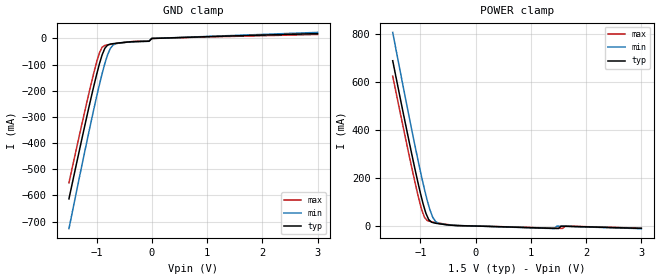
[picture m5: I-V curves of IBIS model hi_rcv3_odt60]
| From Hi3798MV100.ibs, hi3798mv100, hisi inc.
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[Model]   hi_rcv3_odt60
Model_type   Input
Vinl = 0.575
Vinh = 0.925
| variable   typ   min   max
C_comp   2.22014p   2.17375p   2.28074p
| Subparameter   typ   min   max
[Model Spec]
Vinl   0.575   0.575   0.575
Vinh   0.925   0.925   0.925
| Variable   typ   min   max
[Temperature Range] 25   125   -40
| Variable   typ   min   max
[Voltage Range]   1.5   1.425   1.575
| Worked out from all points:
|   GND clamp passes 1 mA (typ) near -0.00 V on its own axis
|   POWER clamp passes 1 mA (typ) near -0.18 V on its own axis
[Power_clamp]
| Note that the [POWER_clamp] voltage table is referenced to Vcc
| and is calculated using Vtable=Vcc - Vmeasured.
| Voltage   I(typ)   I(min)   I(max)
-1.5V     689.2mA    807.4mA    624.8mA
-1.175V   321.6mA    423.6mA    264.6mA
-1.075V   214.5mA    310.5mA    160.2mA
-975mV    115.6mA    202.9mA    68.04mA
-925mV    73.09mA    152.6mA    36.18mA
-850mV    27.42mA    86.35mA    21.04mA
-775mV    14.63mA    36.44mA    16.87mA
-725mV    11.84mA    19.22mA    14.74mA
-625mV    8.362mA    8.702mA    10.71mA
-325mV    1.849mA    2.284mA    2.023mA
1.425V    -9.795mA   -10.53mA   -8.94mA
3V        -9.835mA   -10.92mA   -8.739mA
[GND_clamp]
| Voltage   I(typ)   I(min)   I(max)
-1.5V     -612.9mA   -726.9mA   -551.5mA
-1.15V    -273.4mA   -368.1mA   -219.6mA
-1.05V    -181.9mA   -270.4mA   -131.2mA
-950mV    -98.1mA    -177.7mA   -55.97mA
-900mV    -62.84mA   -134.6mA   -33.71mA
-850mV    -37.29mA   -95.25mA   -26.53mA
-750mV    -21.52mA   -37.88mA   -22.71mA
-700mV    -19.86mA   -24.93mA   -21.16mA
-550mV    -16.17mA   -16.38mA   -16.75mA
-50mV     -10.57mA   -10.87mA   -10.11mA
0V        0A         0A         0A
3V        18.6mA     23.13mA    15.24mA
